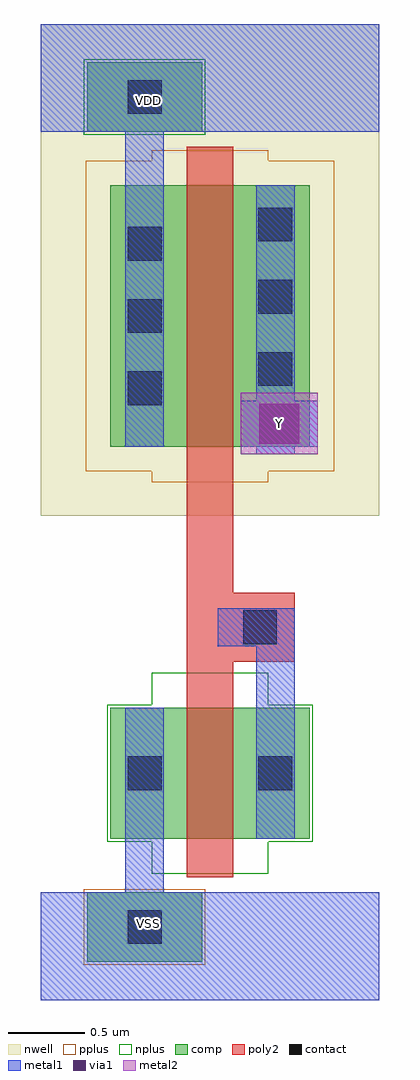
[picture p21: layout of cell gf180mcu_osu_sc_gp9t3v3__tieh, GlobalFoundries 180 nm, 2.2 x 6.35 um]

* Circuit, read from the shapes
.subckt gf180mcu_osu_sc_gp9t3v3__tieh VDD VSS Y
XM1 n1 n1 VSS VSS nfet_03v3 w=0.85u l=0.3u
XM2 Y n1 VDD VDD pfet_03v3 w=1.7u l=0.3u
.ends

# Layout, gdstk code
import gdstk
lib = gdstk.Library(unit=1e-6, precision=1e-09)
def R(c, l, rs):  # rectangles x0, y0, x1, y1
    for r in rs: c.add(gdstk.rectangle(r[:2], r[2:], *l))
def A(c, l, x, y, w, h, nx, ny, dx, dy):  # array of equal rectangles
    R(c, l, [(x+i*dx, y+j*dy, x+i*dx+w, y+j*dy+h) for i in range(nx) for j in range(ny)])
nwell = (21, 0)
comp = (22, 0)
poly2 = (30, 0)
pplus = (31, 0)
nplus = (32, 0)
contact = (33, 0)
metal1 = (34, 0)
via1 = (35, 0)
metal2 = (36, 0)

gf180mcu_osu_sc_gp9t3v3_ = lib.new_cell('gf180mcu_osu_sc_gp9t3v3__tieh')
R(gf180mcu_osu_sc_gp9t3v3_, nwell, [(0,3.15,2.2,6.35)])
R(gf180mcu_osu_sc_gp9t3v3_, comp, [(0.3,0.25,1.05,0.7), (0.45,1.05,1.75,1.9), (0.45,3.6,1.75,5.3), (0.3,5.65,1.05,6.1)])
R(gf180mcu_osu_sc_gp9t3v3_, poly2, [(0.95,0.8,1.25,2.2), (0.95,2.2,1.65,2.65), (0.95,2.65,1.25,5.55)])
R(gf180mcu_osu_sc_gp9t3v3_, pplus, [(0.28,0.23,1.07,0.72), (0.72,3.37,1.48,3.44), (0.29,3.44,1.91,5.46), (0.72,5.46,1.48,5.53)])
R(gf180mcu_osu_sc_gp9t3v3_, nplus, [(0.72,0.82,1.48,1.03), (0.43,1.03,1.77,1.92), (0.72,1.92,1.48,2.13), (0.28,5.63,1.07,6.12)])
A(gf180mcu_osu_sc_gp9t3v3_, contact, 0.565, 3.87, 0.22, 0.22, 1, 3, 0, 0.47)
A(gf180mcu_osu_sc_gp9t3v3_, contact, 1.415, 3.995, 0.22, 0.22, 1, 3, 0, 0.47)
R(gf180mcu_osu_sc_gp9t3v3_, contact, [(0.565,0.365,0.785,0.585), (0.565,1.365,0.785,1.585), (1.415,1.365,1.635,1.585), (1.315,2.315,1.535,2.535), (0.565,5.765,0.785,5.985)])
R(gf180mcu_osu_sc_gp9t3v3_, metal1, [(0,0,2.2,0.7), (0.55,0.7,0.8,1.9), (1.4,1.05,1.65,2.3), (1.15,2.3,1.65,2.55), (1.4,3.55,1.65,3.6), (0.55,3.6,0.8,5.65), (1.3,3.6,1.8,3.9), (1.4,3.9,1.65,5.3), (0,5.65,2.2,6.35)])
R(gf180mcu_osu_sc_gp9t3v3_, via1, [(1.42,3.62,1.68,3.88)])
R(gf180mcu_osu_sc_gp9t3v3_, metal2, [(1.3,3.55,1.8,3.95)])
gf180mcu_osu_sc_gp9t3v3_.add(gdstk.Label('Y', (1.55,3.75), layer=36, texttype=10))
gf180mcu_osu_sc_gp9t3v3_.add(gdstk.Label('VDD', (0.7,5.85), layer=34, texttype=10))
gf180mcu_osu_sc_gp9t3v3_.add(gdstk.Label('VSS', (0.7,0.5), layer=34, texttype=10))

lib.write_gds('gf180mcu_osu_sc_gp9t3v3__tieh.gds')
